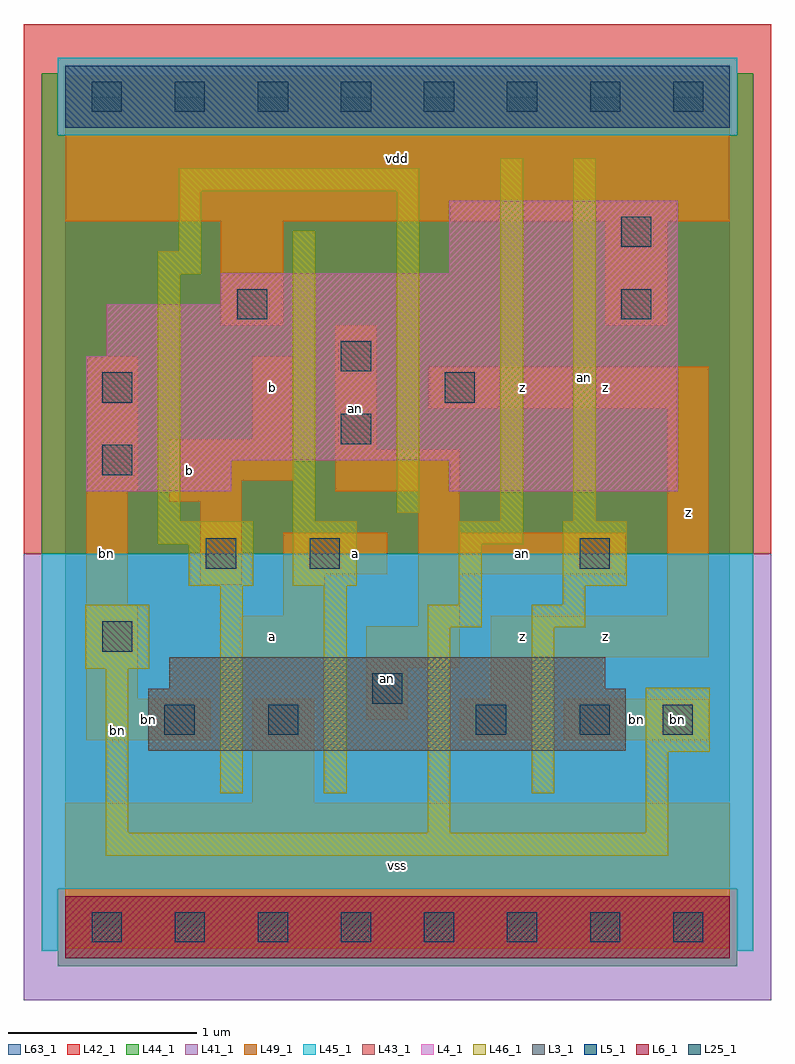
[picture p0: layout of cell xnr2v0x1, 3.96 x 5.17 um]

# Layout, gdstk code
import gdstk
lib = gdstk.Library(unit=1e-6, precision=1e-09)
def R(c, l, rs):  # rectangles x0, y0, x1, y1
    for r in rs: c.add(gdstk.rectangle(r[:2], r[2:], *l))
def A(c, l, x, y, w, h, nx, ny, dx, dy):  # array of equal rectangles
    R(c, l, [(x+i*dx, y+j*dy, x+i*dx+w, y+j*dy+h) for i in range(nx) for j in range(ny)])
L3_1 = (3, 1)
L4_1 = (4, 1)
L5_1 = (5, 1)
L6_1 = (6, 1)
L25_1 = (25, 1)
L41_1 = (41, 1)
L42_1 = (42, 1)
L43_1 = (43, 1)
L44_1 = (44, 1)
L45_1 = (45, 1)
L46_1 = (46, 1)
L49_1 = (49, 1)
L63_1 = (63, 1)

xnr2v0x1 = lib.new_cell('xnr2v0x1')
R(xnr2v0x1, L3_1, [(0.44,0.935,2.97,1.265), (0.55,1.265,2.86,1.43)])
R(xnr2v0x1, L4_1, [(0.11,2.31,0.88,2.475), (2.035,2.31,3.245,2.475), (0.11,2.475,3.245,3.025), (0.22,3.025,3.245,3.3), (0.825,3.3,3.245,3.465), (2.035,3.465,3.245,3.85)])
R(xnr2v0x1, L5_1, [(0,4.235,3.52,4.565)])
R(xnr2v0x1, L6_1, [(0,-0.165,3.52,0.165)])
A(xnr2v0x1, L25_1, 0.14, -0.08, 0.16, 0.16, 8, 2, 0.44, 4.4)
R(xnr2v0x1, L25_1, [(0.525,1.02,0.685,1.18), (1.075,1.02,1.235,1.18), (2.175,1.02,2.335,1.18), (2.725,1.02,2.885,1.18), (3.165,1.02,3.325,1.18), (1.625,1.185,1.785,1.345), (0.195,1.46,0.355,1.62), (0.745,1.9,0.905,2.06), (1.295,1.9,1.455,2.06), (2.725,1.9,2.885,2.06), (0.195,2.395,0.355,2.555), (1.46,2.56,1.62,2.72), (0.195,2.78,0.355,2.94), (2.01,2.78,2.17,2.94), (1.46,2.945,1.62,3.105), (0.91,3.22,1.07,3.38), (2.945,3.22,3.105,3.38), (2.945,3.605,3.105,3.765)])
R(xnr2v0x1, L41_1, [(-0.22,-0.385,3.74,1.98)])
R(xnr2v0x1, L42_1, [(-0.22,1.98,3.74,4.785)])
R(xnr2v0x1, L43_1, [(0,-0.165,3.52,0.165), (0.44,0.935,2.97,1.265), (0.55,1.265,2.86,1.43), (0.11,2.31,0.88,2.475), (2.035,2.31,3.245,2.475), (0.11,2.475,3.245,3.025), (0.22,3.025,3.245,3.3), (0.825,3.3,3.245,3.465), (2.035,3.465,3.245,3.85), (0,4.235,3.52,4.565)])
R(xnr2v0x1, L44_1, [(-0.04,-0.205,3.56,0.205), (-0.125,1.98,3.645,4.195), (-0.125,4.195,-0.04,4.525), (3.56,4.195,3.645,4.525)])
R(xnr2v0x1, L45_1, [(-0.125,-0.125,-0.04,0.205), (3.56,-0.125,3.645,0.205), (-0.125,0.205,3.645,1.98), (-0.04,4.195,3.56,4.605)])
R(xnr2v0x1, L46_1, [(0.215,0.38,3.195,0.5), (0.215,0.5,0.335,1.37), (1.92,0.5,2.04,1.59), (3.075,0.5,3.195,0.93), (0.82,0.71,0.94,1.81), (1.37,0.71,1.49,1.81), (2.47,0.71,2.59,1.59), (3.075,0.93,3.415,1.27), (0.105,1.37,0.445,1.71), (1.92,1.59,2.205,1.71), (2.47,1.59,2.755,1.71), (2.085,1.71,2.205,2.03), (2.635,1.71,2.755,1.81), (0.655,1.81,0.995,2.03), (1.205,1.81,1.545,2.15), (2.635,1.81,2.975,2.15), (0.49,2.03,0.995,2.15), (2.085,2.03,2.425,2.15), (0.49,2.15,0.61,3.46), (1.205,2.15,1.325,3.69), (2.305,2.15,2.425,4.075), (2.69,2.15,2.81,4.075), (1.755,2.195,1.875,3.9), (0.49,3.46,0.72,3.58), (0.6,3.58,0.72,3.9), (0.6,3.9,1.875,4.02)])
R(xnr2v0x1, L49_1, [(0,-0.11,3.52,0.66), (0.99,0.66,1.32,1.21), (0.11,0.99,0.77,1.21), (2.09,0.99,2.475,1.21), (2.64,0.99,3.41,1.21), (1.595,1.1,1.815,1.375), (0.11,1.21,0.385,1.705), (2.255,1.21,2.475,1.43), (1.595,1.375,2.09,1.595), (0.935,1.43,1.375,1.65), (2.255,1.43,3.41,1.65), (1.87,1.595,2.09,1.87), (1.155,1.65,1.375,1.87), (3.19,1.65,3.41,2.75), (0.11,1.705,0.33,2.31), (0.715,1.815,0.935,2.255), (1.155,1.87,1.705,2.09), (1.87,1.87,2.97,2.09), (1.87,2.09,2.09,2.31), (0.55,2.255,0.935,2.365), (0.11,2.31,0.385,3.025), (1.43,2.31,2.09,2.53), (0.55,2.365,1.21,2.585), (1.43,2.53,1.65,3.19), (0.99,2.585,1.21,3.025), (1.925,2.75,3.41,2.97), (0.825,3.19,1.155,3.74), (2.86,3.19,3.19,3.74), (0,3.74,3.52,4.51)])
R(xnr2v0x1, L63_1, [(0,0,3.52,4.4)])
xnr2v0x1.add(gdstk.Label('bn', (0.275,1.045), layer=46, texttype=1))
xnr2v0x1.add(gdstk.Label('bn', (3.245,1.1), layer=49, texttype=1))
xnr2v0x1.add(gdstk.Label('an', (2.75,2.915), layer=46, texttype=1))
xnr2v0x1.add(gdstk.Label('bn', (0.22,1.98), layer=49, texttype=1))
xnr2v0x1.add(gdstk.Label('bn', (0.44,1.1), layer=49, texttype=1))
xnr2v0x1.add(gdstk.Label('a', (1.1,1.54), layer=49, texttype=1))
xnr2v0x1.add(gdstk.Label('b', (0.66,2.42), layer=49, texttype=1))
xnr2v0x1.add(gdstk.Label('b', (1.1,2.86), layer=49, texttype=1))
xnr2v0x1.add(gdstk.Label('vss', (1.76,0.33), layer=49, texttype=1))
xnr2v0x1.add(gdstk.Label('an', (1.705,1.32), layer=49, texttype=1))
xnr2v0x1.add(gdstk.Label('a', (1.54,1.98), layer=49, texttype=1))
xnr2v0x1.add(gdstk.Label('an', (1.54,2.75), layer=49, texttype=1))
xnr2v0x1.add(gdstk.Label('vdd', (1.76,4.07), layer=49, texttype=1))
xnr2v0x1.add(gdstk.Label('z', (2.42,1.54), layer=49, texttype=1))
xnr2v0x1.add(gdstk.Label('z', (2.42,2.86), layer=49, texttype=1))
xnr2v0x1.add(gdstk.Label('z', (2.86,1.54), layer=49, texttype=1))
xnr2v0x1.add(gdstk.Label('bn', (3.025,1.1), layer=49, texttype=1))
xnr2v0x1.add(gdstk.Label('an', (2.42,1.98), layer=49, texttype=1))
xnr2v0x1.add(gdstk.Label('z', (3.3,2.2), layer=49, texttype=1))
xnr2v0x1.add(gdstk.Label('z', (2.86,2.86), layer=49, texttype=1))

lib.write_gds('xnr2v0x1.gds')
